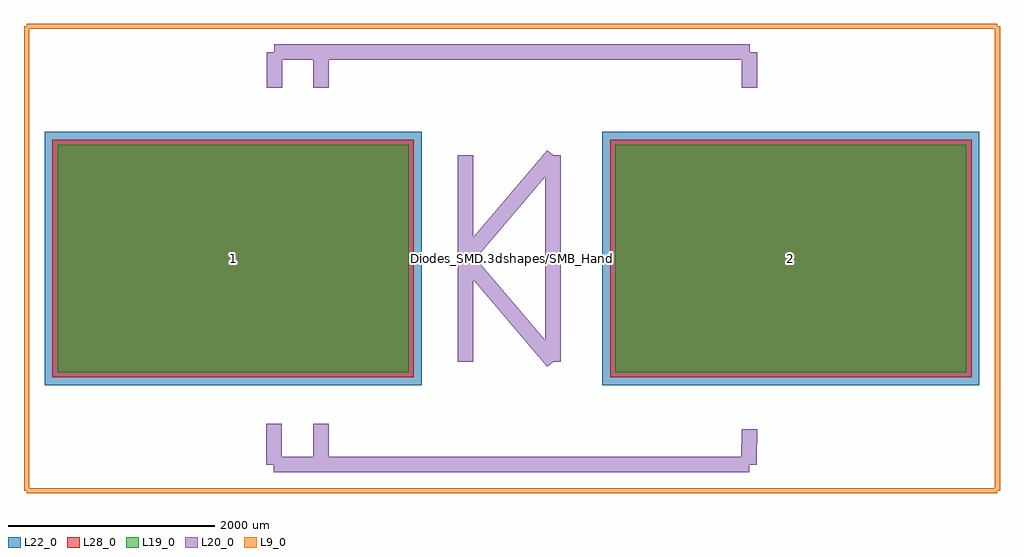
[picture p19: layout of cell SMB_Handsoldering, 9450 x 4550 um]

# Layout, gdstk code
import gdstk
lib = gdstk.Library(unit=1e-6, precision=1e-09)
def R(c, l, rs):  # rectangles x0, y0, x1, y1
    for r in rs: c.add(gdstk.rectangle(r[:2], r[2:], *l))
L9_0 = (9, 0)
L19_0 = (19, 0)
L20_0 = (20, 0)
L22_0 = (22, 0)
L28_0 = (28, 0)

smb_handsoldering = lib.new_cell('SMB_Handsoldering')
R(smb_handsoldering, L19_0, [(-4400.08,-1100.62,-999.96,1100.62), (999.96,-1100.62,4400.08,1100.62)])
R(smb_handsoldering, L22_0, [(-4525.08,-1225.62,-874.96,1225.62), (874.96,-1225.62,4525.08,1225.62)])
R(smb_handsoldering, L28_0, [(-4450.08,-1150.62,-949.96,1150.62), (949.96,-1150.62,4450.08,1150.62)])
smb_handsoldering.add(gdstk.FlexPath([(2301.24,1998.98),(2301.24,1800.86)], 149.998, ends="flush", simple_path=True, layer=20, datatype=0))  # L20_0
smb_handsoldering.add(gdstk.FlexPath([(-2301.24,1998.98),(2301.24,1998.98)], 149.998, ends="flush", simple_path=True, layer=20, datatype=0))  # L20_0
smb_handsoldering.add(gdstk.FlexPath([(-2301.24,1998.98),(-2301.24,1800.86)], 149.998, ends="flush", simple_path=True, layer=20, datatype=0))  # L20_0
smb_handsoldering.add(gdstk.FlexPath([(-2306.32,-1996.44),(-2306.32,-1798.32)], 149.998, ends="flush", simple_path=True, layer=20, datatype=0))  # L20_0
smb_handsoldering.add(gdstk.FlexPath([(-2306.32,-1996.44),(2296.16,-1996.44)], 149.998, ends="flush", simple_path=True, layer=20, datatype=0))  # L20_0
smb_handsoldering.add(gdstk.FlexPath([(2296.16,-1996.44),(2296.16,-1798.32)], 149.998, ends="flush", simple_path=True, layer=20, datatype=0))  # L20_0
smb_handsoldering.add(gdstk.FlexPath([(-1849.28,1998.98),(-1849.28,1800.86)], 149.998, ends="flush", simple_path=True, layer=20, datatype=0))  # L20_0
smb_handsoldering.add(gdstk.FlexPath([(-1849.28,-1948.98),(-1849.28,-1750.86)], 149.998, ends="flush", simple_path=True, layer=20, datatype=0))  # L20_0
smb_handsoldering.add(gdstk.FlexPath([(2301.24,1800),(2301.24,1651)], 149.998, ends="flush", simple_path=True, layer=20, datatype=0))  # L20_0
smb_handsoldering.add(gdstk.FlexPath([(-1849.28,1800),(-1849.28,1651)], 149.998, ends="flush", simple_path=True, layer=20, datatype=0))  # L20_0
smb_handsoldering.add(gdstk.FlexPath([(-2301.24,1800),(-2301.24,1651)], 149.998, ends="flush", simple_path=True, layer=20, datatype=0))  # L20_0
smb_handsoldering.add(gdstk.FlexPath([(2301.24,-1800),(2301.24,-1651)], 149.998, ends="flush", simple_path=True, layer=20, datatype=0))  # L20_0
smb_handsoldering.add(gdstk.FlexPath([(-1849.28,-1800),(-1849.28,-1601)], 149.998, ends="flush", simple_path=True, layer=20, datatype=0))  # L20_0
smb_handsoldering.add(gdstk.FlexPath([(-2306.32,-1800),(-2306.32,-1600.2)], 149.998, ends="flush", simple_path=True, layer=20, datatype=0))  # L20_0
smb_handsoldering.add(gdstk.FlexPath([(-449.58,0),(-449.58,1000.76)], 149.998, ends="flush", simple_path=True, layer=20, datatype=0))  # L20_0
smb_handsoldering.add(gdstk.FlexPath([(-449.58,0),(-449.58,-1000.76)], 149.998, ends="flush", simple_path=True, layer=20, datatype=0))  # L20_0
smb_handsoldering.add(gdstk.FlexPath([(398.78,-1000.76),(-449.58,0)], 149.998, ends="flush", simple_path=True, layer=20, datatype=0))  # L20_0
smb_handsoldering.add(gdstk.FlexPath([(398.78,1000.76),(398.78,-1000.76)], 149.998, ends="flush", simple_path=True, layer=20, datatype=0))  # L20_0
smb_handsoldering.add(gdstk.FlexPath([(-449.58,0),(398.78,1000.76)], 149.998, ends="flush", simple_path=True, layer=20, datatype=0))  # L20_0
smb_handsoldering.add(gdstk.FlexPath([(-4700,-2250),(-4700,2250)], 50, ends="flush", simple_path=True, layer=9, datatype=0))  # L9_0
smb_handsoldering.add(gdstk.FlexPath([(4700,-2250),(-4700,-2250)], 50, ends="flush", simple_path=True, layer=9, datatype=0))  # L9_0
smb_handsoldering.add(gdstk.FlexPath([(4700,2250),(4700,-2250)], 50, ends="flush", simple_path=True, layer=9, datatype=0))  # L9_0
smb_handsoldering.add(gdstk.FlexPath([(-4700,2250),(4700,2250)], 50, ends="flush", simple_path=True, layer=9, datatype=0))  # L9_0
smb_handsoldering.add(gdstk.Label('Diodes_SMD.3dshapes/SMB_Handsoldering.wrl', (0,0), layer=12, texttype=0))
smb_handsoldering.add(gdstk.Label('2', (2700.02,0), layer=28, texttype=0))
smb_handsoldering.add(gdstk.Label('1', (-2700.02,0), layer=28, texttype=0))
smb_handsoldering.add(gdstk.Label('A', (3000,-3050), layer=9, texttype=0))
smb_handsoldering.add(gdstk.Label('K', (-3500,-3100), layer=9, texttype=0))
smb_handsoldering.add(gdstk.Label('type', (100,-4750), layer=9, texttype=0))
smb_handsoldering.add(gdstk.Label('devicename', (0,3100), layer=9, texttype=0))

lib.write_gds('SMB_Handsoldering.gds')
